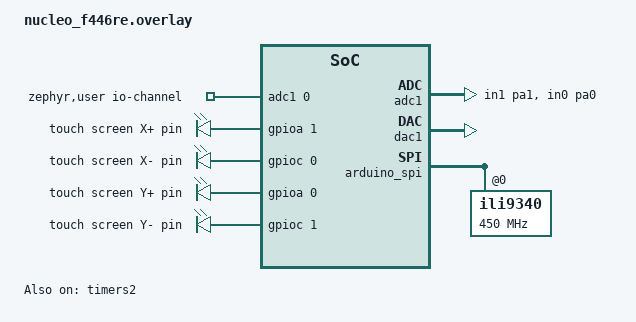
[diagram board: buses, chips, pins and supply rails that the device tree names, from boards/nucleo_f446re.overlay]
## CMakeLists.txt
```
# Find Zephyr. This also loads Zephyr's build system.
set(BOARD nucleo_f446re)
cmake_minimum_required(VERSION 3.13.1)
find_package(Zephyr)
project(synesthete)

# Add your source file to the "app" target. This must come after
# find_package(Zephyr) which defines the target.
target_include_directories(app 
    PRIVATE
        src/gui
        src/ux/touch
        src/ux/pots
        src/adc
        src/gpio
        src/synesthete
        src/dacout)
        
target_sources(app 
    PRIVATE
        src/main.c
        src/gui/gui.c
        src/gui/gui.h
        src/synesthete/synesthete.c
        src/synesthete/synesthete.h
        src/dacout/dacout.c
        src/dacout/dacout.h
        src/ux/touch/touch.c
        src/ux/touch/touch.h
        src/ux/pots/pots.c
        src/ux/pots/pots.h
        src/gpio/gpio.c
        src/gpio/gpio.h
        src/adc/adc.c
        src/adc/adc.h)
```

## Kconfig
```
# SPDX-License-Identifier: Apache-2.0

mainmenu "synesthete"

config WIREDEV_STM32
  default y
  bool
  select USE_STM32_HAL_TIM
  select USE_STM32_HAL_TIM_EX
  
# Sources Kconfig.zephyr in the Zephyr root directory.
#
# Note: All 'source' statements work relative to the Zephyr root directory (due
# to the $srctree environment variable being set to $ZEPHYR_BASE). If you want
# to 'source' relative to the current Kconfig file instead, use 'rsource' (or a
# path relative to the Zephyr root).
source "Kconfig.zephyr"
```

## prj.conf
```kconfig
CONFIG_HEAP_MEM_POOL_SIZE=16384
CONFIG_LOG=y
CONFIG_DISPLAY=y
CONFIG_CONSOLE_SUBSYS=y
CONFIG_CONSOLE_GETCHAR=y
#CONFIG_CONSOLE_GETLINE=y
CONFIG_CONSOLE_GETCHAR_BUFSIZE=64
CONFIG_CONSOLE_PUTCHAR_BUFSIZE=512
CONFIG_ADC=y
CONFIG_GPIO=y
CONFIG_DAC=y
CONFIG_DMA=y
CONFIG_DMA_STM32=y
#CONFIG_FPU=y
#CONFIG_FPU_SHARING=y
```

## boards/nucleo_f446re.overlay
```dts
/*
 * SPDX-License-Identifier: Apache-2.0
 *
 * Copyright (c) 2020 Libre Solar Technologies GmbH
 */

/ {
	zephyr,user {
		/* adjust channel number according to pinmux in board.dts */
		io-channels = <&adc1 0>;
		
		dac = <&dac1>;
		dac-channel-id = <1>;
		dac-resolution = <12>;
	};
	
	touchpins {
		compatible = "gpio-leds";
		xpos {
			gpios = <&gpioa 1 GPIO_ACTIVE_HIGH>;
			label = "touch screen X+ pin";
		};
		xgnd {
			gpios = <&gpioc 0 GPIO_ACTIVE_HIGH>;
			label = "touch screen X- pin";
		};
		ypos {
			gpios = <&gpioa 0 GPIO_ACTIVE_HIGH>;
			label = "touch screen Y+ pin";
		};
		ygnd {
			gpios = <&gpioc 1 GPIO_ACTIVE_HIGH>;
			label = "touch screen Y- pin";
		};
	};
};

&adc1 {
	status = "okay";
	pinctrl-0 = <&adc1_in1_pa1 &adc1_in0_pa0>;
};

&dac1{
	status = "okay";
	dmas = <&dma1 5 7 0 0x03>;// 5 7 0x32C40 0x03>;
	dma-names = "dacout";
};

&timers2{
	status = "okay";
};

&dma1{
	status = "okay";
};

&pll {
	div-m = <8>;
	mul-n = <360>;
	div-p = <2>;
	div-q = <2>;
	clocks = <&clk_hse>;
	status = "okay";
};

&rcc {
	clocks = <&pll>;
	clock-frequency = <DT_FREQ_M(96)>;
	ahb-prescaler = <1>;
	apb1-prescaler = <4>;
	apb2-prescaler = <4>;
};

&arduino_spi {
	ili9340@0 {
		spi-max-frequency = <450000000>;
	};
};
```

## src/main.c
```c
/*
 * Copyright (c) 2021 Nicolas Blazevic <nicolas@ecliptic.fr>
 *
 * SPDX-License-Identifier: Apache-2.0
 */

#include <logging/log.h>
LOG_MODULE_REGISTER(main, LOG_LEVEL_INF);

#include "synesthete.h"
#include <console/console.h>
#include <device.h>
#include <drivers/display.h>
#include <sys/printk.h>
#include <zephyr.h>

#define STACK_SIZE 1024
#define GUI_PRIO 6
#define TABLE_PRIO 1
#define SOUND_PRIO 2

K_THREAD_STACK_DEFINE(gui_stack_area, STACK_SIZE);
K_THREAD_STACK_DEFINE(table_stack_area, STACK_SIZE);
K_THREAD_STACK_DEFINE(soundstack, STACK_SIZE);

k_tid_t my_tid;
k_tid_t my_tid2;
k_tid_t my_tid3;

void gui_thread(void *p1, void *p2, void *p3)
{
	while (1) {
		wave_draw();
		k_msleep(1);
	}
}

void update_table(void *p1, void *p2, void *p3)
{
	while (1) {
		wave_aquire();
		k_sleep(K_USEC(1));
	}
}

void produceSound(void *p1, void *p2, void *p3)
{
	while (1) {
		getfreq();
		k_sleep(K_USEC(10));
	}
}

void main(void)
{
	console_getline_init();
	synesthete_init();

	struct k_thread guiThread;
	my_tid = k_thread_create(&guiThread, gui_stack_area,
				 K_THREAD_STACK_SIZEOF(gui_stack_area),
				 gui_thread, &my_tid2, NULL, NULL, GUI_PRIO, 0,
				 K_NO_WAIT);

	struct k_thread tableThread;
	my_tid2 = k_thread_create(&tableThread, table_stack_area,
				  K_THREAD_STACK_SIZEOF(table_stack_area),
				  update_table, &my_tid, NULL, NULL, TABLE_PRIO,
				  0, K_NO_WAIT);

	struct k_thread soundThread;
	my_tid3 =
		k_thread_create(&soundThread, soundstack,
				K_THREAD_STACK_SIZEOF(soundstack), produceSound,
				&my_tid, NULL, NULL, SOUND_PRIO, 0, K_NO_WAIT);

	while (1) {
		k_msleep(100);
	}
}
```
